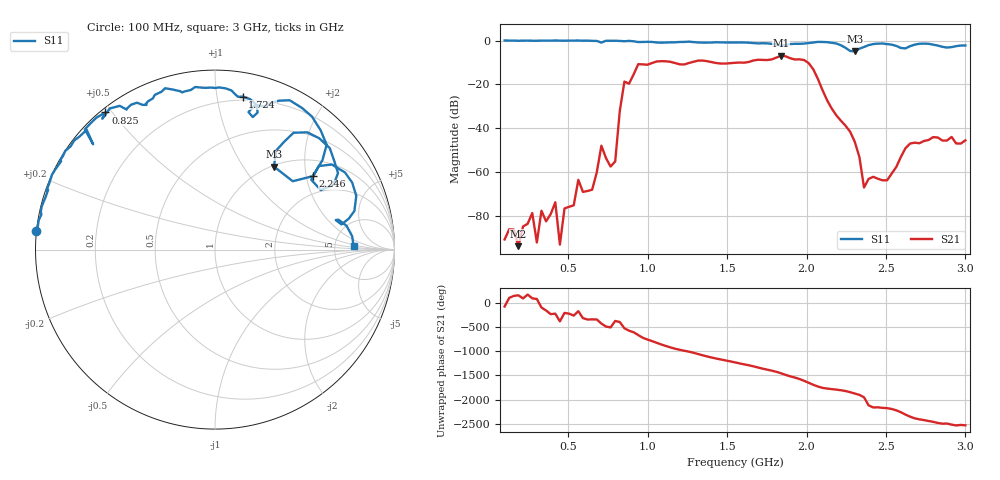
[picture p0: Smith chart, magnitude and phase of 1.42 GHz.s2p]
# HZ S RI R 50
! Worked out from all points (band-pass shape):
!   101 points, 100 MHz to 3 GHz, reference 50 ohm
!   highest |S21| = -6.94 dB at 1.84 GHz (marker M1); lowest = -93.5 dB at 187 MHz (marker M2)
!   |S21| within 3 dB of the highest: 1.275 GHz to 1.411 GHz (136.2 MHz wide, 10.1 % of centre); 1.621 GHz to 2.007 GHz (385.9 MHz wide, 21.3 % of centre)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
!   lowest |S11| = -4.9 dB at 2.304 GHz (marker M3), VSWR 3.62, Z = 51 + j69.6 ohm
!   |S11| at or under -10 dB: nowhere
!   S12 and S22 are empty: the file has one direction only
!   S11 on the Smith chart (normalised r, x): 100 MHz: -0.00, +0.05; 825 MHz: 0.01, +0.48; 1.724 GHz: 0.17, +1.18; 2.246 GHz: 1.43, +2.18; 3 GHz: 7.71, +0.79
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1e8  -0.9973 0.1032  7e-06 -2.9e-05  0 0  0 0
1.87e8  -0.9674 0.1943  -1.9e-05 9e-06  0 0  0 0
5.93e8  -0.8051 0.5743  0.000267 0.000242  0 0  0 0
6.51e8  -0.7558 0.6291  0.000387 0.000116  0 0  0 0
7.09e8  -0.6789 0.5868  0.00142 -0.0038  0 0  0 0
7.96e8  -0.6606 0.7352  0.00171 -0.000475  0 0  0 0
8.25e8  -0.6108 0.7641  0.02 -0.0153  0 0  0 0
9.41e8  -0.4924 0.7801  0.1761 0.2296  0 0  0 0
1.086e9  -0.3819 0.8059  -0.265 -0.211  0 0  0 0
1.202e9  -0.3355 0.862  -0.0909 0.2726  0 0  0 0
1.347e9  -0.1828 0.8758  0.3478 -0.0374  0 0  0 0
1.55e9  0.00137 0.9004  -0.2773 -0.1426  0 0  0 0
1.724e9  0.1545 0.8527  0.0744 0.3547  0 0  0 0
1.84e9  0.2104 0.7385  0.4276 -0.139  0 0  0 0
1.985e9  0.286 0.8023  -0.3577 -0.0384  0 0  0 0
2.043e9  0.3556 0.8295  -0.0527 0.2138  0 0  0 0
2.246e9  0.5446 0.4089  0.0104 -0.00488  0 0  0 0
2.304e9  0.3284 0.4625  0.00112 -0.00483  0 0  0 0
2.362e9  0.3853 0.6009  -0.000409 -0.000197  0 0  0 0
2.536e9  0.6855 0.4261  0.000767 -0.000542  0 0  0 0
2.652e9  0.5781 0.4657  -0.00438 0.00116  0 0  0 0
3e9  0.7722 0.0206  0.00521 -0.0013  0 0  0 0
